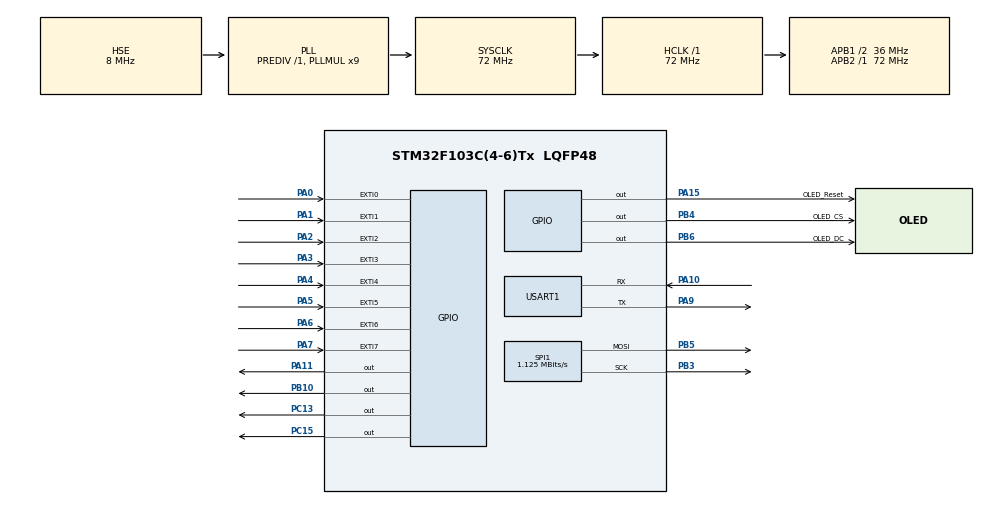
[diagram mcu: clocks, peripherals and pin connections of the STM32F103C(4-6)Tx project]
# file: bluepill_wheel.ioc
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Mcu.Family=STM32F1
Mcu.Name=STM32F103C(4-6)Tx
Mcu.Package=LQFP48
NVIC.EXTI0_IRQn=true\:0\:0\:false\:false\:true\:true\:true\:true
NVIC.EXTI1_IRQn=true\:0\:0\:false\:false\:true\:true\:true\:true
NVIC.EXTI2_IRQn=true\:0\:0\:false\:false\:true\:true\:true\:true
NVIC.EXTI3_IRQn=true\:0\:0\:false\:false\:true\:true\:true\:true
NVIC.EXTI4_IRQn=true\:0\:0\:false\:false\:true\:true\:true\:true
NVIC.EXTI9_5_IRQn=true\:0\:0\:false\:false\:true\:true\:true\:true
NVIC.PriorityGroup=NVIC_PRIORITYGROUP_4
NVIC.USART1_IRQn=true\:0\:0\:false\:false\:true\:true\:true\:true
PA0-WKUP.GPIO_ModeDefaultEXTI=GPIO_MODE_IT_RISING
PA0-WKUP.GPIO_PuPd=GPIO_NOPULL
PA0-WKUP.Signal=GPXTI0
PA1.GPIO_ModeDefaultEXTI=GPIO_MODE_IT_RISING
PA1.GPIO_PuPd=GPIO_NOPULL
PA1.Signal=GPXTI1
PA10.Mode=Asynchronous
PA10.Signal=USART1_RX
PA11.Signal=GPIO_Output
PA13.Mode=Serial_Wire
PA13.Signal=SYS_JTMS-SWDIO
PA14.Mode=Serial_Wire
PA14.Signal=SYS_JTCK-SWCLK
PA15.GPIO_Label=OLED_Reset
PA15.GPIO_Speed=GPIO_SPEED_FREQ_HIGH
PA15.PinState=GPIO_PIN_SET
PA15.Signal=GPIO_Output
PA2.GPIO_ModeDefaultEXTI=GPIO_MODE_IT_RISING
PA2.GPIO_PuPd=GPIO_NOPULL
PA2.Signal=GPXTI2
PA3.GPIO_ModeDefaultEXTI=GPIO_MODE_IT_RISING
PA3.GPIO_PuPd=GPIO_NOPULL
PA3.Signal=GPXTI3
PA4.GPIO_ModeDefaultEXTI=GPIO_MODE_IT_RISING
PA4.GPIO_PuPd=GPIO_NOPULL
PA4.Signal=GPXTI4
PA5.GPIO_ModeDefaultEXTI=GPIO_MODE_IT_RISING
PA5.GPIO_PuPd=GPIO_NOPULL
PA5.Signal=GPXTI5
PA6.GPIO_ModeDefaultEXTI=GPIO_MODE_IT_RISING
PA6.Signal=GPXTI6
PA7.GPIO_ModeDefaultEXTI=GPIO_MODE_IT_RISING
PA7.Signal=GPXTI7
PA9.Mode=Asynchronous
PA9.Signal=USART1_TX
PB10.GPIO_ModeDefaultOutputPP=GPIO_MODE_OUTPUT_PP
PB10.GPIO_PuPd=GPIO_NOPULL
PB10.PinState=GPIO_PIN_SET
PB10.Signal=GPIO_Output
PB3.Mode=TX_Only_Simplex_Unidirect_Master
PB3.Signal=SPI1_SCK
PB4.GPIO_Label=OLED_CS
PB4.GPIO_Speed=GPIO_SPEED_FREQ_HIGH
PB4.PinState=GPIO_PIN_SET
PB4.Signal=GPIO_Output
PB5.Mode=TX_Only_Simplex_Unidirect_Master
PB5.Signal=SPI1_MOSI
PB6.GPIO_Label=OLED_DC
PB6.GPIO_Speed=GPIO_SPEED_FREQ_HIGH
PB6.PinState=GPIO_PIN_SET
PB6.Signal=GPIO_Output
PC13-TAMPER-RTC.GPIO_PuPd=GPIO_NOPULL
PC13-TAMPER-RTC.GPIO_Speed=GPIO_SPEED_FREQ_LOW
PC13-TAMPER-RTC.PinState=GPIO_PIN_RESET
PC13-TAMPER-RTC.Signal=GPIO_Output
PC15-OSC32_OUT.GPIO_ModeDefaultOutputPP=GPIO_MODE_OUTPUT_PP
PC15-OSC32_OUT.GPIO_PuPd=GPIO_NOPULL
PC15-OSC32_OUT.PinState=GPIO_PIN_SET
PC15-OSC32_OUT.Signal=GPIO_Output
PD0-OSC_IN.Mode=HSE-External-Oscillator
PD0-OSC_IN.Signal=RCC_OSC_IN
PD1-OSC_OUT.Mode=HSE-External-Oscillator
PD1-OSC_OUT.Signal=RCC_OSC_OUT
ProjectManager.HeapSize=0x200
ProjectManager.StackSize=0x400
ProjectManager.TargetToolchain=CMake
RCC.AHBFreq_Value=72000000
RCC.APB1CLKDivider=RCC_HCLK_DIV2
RCC.APB1Freq_Value=36000000
RCC.APB1TimFreq_Value=72000000
RCC.APB2Freq_Value=72000000
RCC.APB2TimFreq_Value=72000000
RCC.HCLKFreq_Value=72000000
RCC.PLLMUL=RCC_PLL_MUL9
RCC.PLLSourceVirtual=RCC_PLLSOURCE_HSE
RCC.SYSCLKFreq_VALUE=72000000
RCC.SYSCLKSource=RCC_SYSCLKSOURCE_PLLCLK
RCC.USBFreq_Value=72000000
SPI1.BaudRatePrescaler=SPI_BAUDRATEPRESCALER_64
SPI1.CLKPhase=SPI_PHASE_1EDGE
SPI1.CLKPolarity=SPI_POLARITY_LOW
SPI1.CRCCalculation=SPI_CRCCALCULATION_DISABLE
SPI1.CalculateBaudRate=1.125 MBits/s
SPI1.Direction=SPI_DIRECTION_2LINES
SPI1.Mode=SPI_MODE_MASTER
SPI1.VirtualType=VM_MASTER
USART1.VirtualMode=VM_ASYNC
board=custom

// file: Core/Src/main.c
/* USER CODE BEGIN Header */
/**
  ******************************************************************************
  * @file           : main.c
  * @brief          : Main program body
  ******************************************************************************
  * @attention
  *
  * Copyright (c) 2026 STMicroelectronics.
  * All rights reserved.
  *
  * This software is licensed under terms that can be found in the LICENSE file
  * in the root directory of this software component.
  * If no LICENSE file comes with this software, it is provided AS-IS.
  *
  ******************************************************************************
  */
/* USER CODE END Header */
#include "main.h"

/* USER CODE BEGIN Includes */
#include <stdio.h>
#include <string.h>
#include "ssd1306.h"
#include "ssd1306_fonts.h"
#include "oled.h"

/* USER CODE END Includes */

SPI_HandleTypeDef hspi1;

UART_HandleTypeDef huart1;

/* USER CODE BEGIN PV */

// Suspension Mode
extern int Suspension_Mode;

// Push buttons (1-4)
uint32_t last_press_button1 = 0;
volatile uint8_t flag_button1 = 0;

uint32_t last_press_button2 = 0;
volatile uint8_t flag_button2 = 0;

uint32_t last_press_button3 = 0;
volatile uint8_t flag_button3 = 0;

uint32_t last_press_button4 = 0;
volatile uint8_t flag_button4 = 0;

// Toggle switches (1,2)
uint32_t last_press_toggle1 = 0;
volatile uint8_t flag_toggle1 = 0;

uint32_t last_press_toggle2 = 0;
volatile uint8_t flag_toggle2 = 0;

// Paddle buttons (1,2)
uint32_t last_press_paddle1 = 0;
volatile uint8_t flag_paddle1 = 0;

uint32_t last_press_paddle2 = 0;
volatile uint8_t flag_paddle2 = 0;

// Damping settings: Front Left, Front Right, Rear Left, Rear Right
int damping_FL = 0;
int damping_FR = 0;
int damping_RL = 0;
int damping_RR = 0;

// UART RX Variables for receiving damping settings
uint8_t rx_data;
char rx_buffer[32];
uint8_t rx_index = 0;
volatile uint8_t rx_flag = 0;

/* USER CODE END PV */

void SystemClock_Config(void);
static void MX_GPIO_Init(void);
static void MX_USART1_UART_Init(void);
static void MX_SPI1_Init(void);

/* USER CODE BEGIN 0 */

void UART_send_byte(unsigned char data) {
  HAL_UART_Transmit(&huart1, &data, 1, HAL_MAX_DELAY);
}

void UART_send_message(const char* message) {
  for (size_t i = 0; i < strlen(message); ++i) {
    UART_send_byte((unsigned char)message[i]);
  }
}

//Turn
const unsigned char Turn[] = {
  0x00,0x00,0x00,0x00,0x00,0x00,0x00,
  0x00,0x00,0x00,0x00,0x00,0x00,0x00,
  0x00,0x00,0x00,0x00,0x00,0x00,0x00,
  0x00,0x00,0x00,0x00,0x00,0x00,0x00,
  0x00,0x00,0x00,0x00,0x00,0x00,0x00,
  0x00,0x00,0x00,0x00,0x00,0x00,0x00,
  0x00,0x00,0x00,0x00,0x00,0x00,0x00,
  0x00,0x00,0x00,0x00,0x00,0x00,0x00,
  0x00,0x00,0x00,0xFF,0x00,0x00,0x00,
  0x00,0x00,0x00,0xFF,0x00,0x00,0x00,
  0x00,0x00,0x00,0xFF,0x00,0x00,0x00,
  0x00,0x00,0x00,0xFF,0x00,0x00,0x00,
  0x00,0x00,0x00,0xE1,0xE0,0x00,0x00,
  0x00,0x00,0x00,0xE1,0xE0,0x00,0x00,
  0x00,0x00,0x00,0xE1,0xE0,0x00,0x00,
  0x00,0x00,0x00,0xE1,0xE0,0x00,0x00,
  0x00,0x00,0x00,0xE0,0x1E,0x00,0x00,
  0x00,0x00,0x00,0xE0,0x1E,0x00,0x00,
  0x00,0xFF,0xFF,0x00,0x1E,0x00,0x00,
  0x00,0xFF,0xFF,0x00,0x1E,0x00,0x00,
  0x00,0xFF,0xFF,0x00,0x00,0xE0,0x00,
  0x00,0xFF,0xFF,0x00,0x00,0xE0,0x00,
  0x00,0xE0,0x00,0x00,0x00,0xE0,0x00,
  0x00,0xE0,0x00,0x00,0x00,0xE0,0x00,
  0x00,0xE0,0x00,0x00,0x00,0x1E,0x00,
  0x00,0xE0,0x00,0x00,0x00,0x1E,0x00,
  0x00,0xE0,0x00,0x00,0x00,0x1E,0x00,
  0x00,0xE0,0x00,0x00,0x00,0x1E,0x00,
  0x00,0xE0,0x00,0x00,0x00,0xE0,0x00,
  0x00,0xE0,0x00,0x00,0x00,0xE0,0x00,
  0x00,0xFF,0xFF,0x00,0x00,0xE0,0x00,
  0x00,0xFF,0xFF,0x00,0x00,0xE0,0x00,
  0x00,0xFF,0xFF,0x00,0x1E,0x00,0x00,
  0x00,0xFF,0xFF,0x00,0x1E,0x00,0x00,
  0x00,0x00,0x00,0xE0,0x1E,0x00,0x00,
  0x00,0x00,0x00,0xE0,0x1E,0x00,0x00,
  0x00,0x00,0x00,0xE1,0xE0,0x00,0x00,
  0x00,0x00,0x00,0xE1,0xE0,0x00,0x00,
  0x00,0x00,0x00,0xE1,0xE0,0x00,0x00,
  0x00,0x00,0x00,0xE1,0xE0,0x00,0x00,
  0x00,0x00,0x00,0xFF,0x00,0x00,0x00,
  0x00,0x00,0x00,0xFF,0x00,0x00,0x00,
  0x00,0x00,0x00,0xFF,0x00,0x00,0x00,
  0x00,0x00,0x00,0xFF,0x00,0x00,0x00,
  0x00,0x00,0x00,0x00,0x00,0x00,0x00,
  0x00,0x00,0x00,0x00,0x00,0x00,0x00,
  0x00,0x00,0x00,0x00,0x00,0x00,0x00,
  0x00,0x00,0x00,0x00,0x00,0x00,0x00,
  0x00,0x00,0x00,0x00,0x00,0x00,0x00,
  0x00,0x00,0x00,0x00,0x00,0x00,0x00,
  0x00,0x00,0x00,0x00,0x00,0x00,0x00,
  0x00,0x00,0x00,0x00,0x00,0x00,0x00
};

//Tree
const unsigned char Tree[] = {
  0x00,0x00,0x00,0x00,0x00,0x00,0x00,
  0x00,0x00,0x00,0x00,0x00,0x00,0x00,
  0x00,0x00,0x00,0x00,0x00,0x00,0x00,
  0x00,0x00,0x00,0x00,0x00,0x00,0x00,
  0x00,0x00,0x00,0x00,0x00,0x00,0x00,
  0x00,0x00,0x00,0x00,0x00,0x00,0x00,
  0x00,0x00,0x00,0xF0,0x00,0x00,0x00,
  0x00,0x00,0x00,0xF0,0x00,0x00,0x00,
  0x00,0x00,0x00,0xF0,0x00,0x00,0x00,
  0x00,0x00,0x00,0xF0,0x00,0x00,0x00,
  0x00,0x00,0x0F,0x0F,0x00,0x00,0x00,
  0x00,0x00,0x0F,0x0F,0x00,0x00,0x00,
  0x00,0x00,0x0F,0x0F,0x00,0x00,0x00,
  0x00,0x00,0x0F,0x0F,0x00,0x00,0x00,
  0x00,0x00,0xF0,0x00,0xF0,0x00,0x00,
  0x00,0x00,0xF0,0x00,0xF0,0x00,0x00,
  0x00,0x00,0xF0,0x00,0xF0,0x00,0x00,
  0x00,0x00,0xF0,0x00,0xF0,0x00,0x00,
  0x00,0x00,0x0F,0x0F,0x00,0x00,0x00,
  0x00,0x00,0x0F,0x0F,0x00,0x00,0x00,
  0x00,0x00,0x0F,0x0F,0x00,0x00,0x00,
  0x00,0x00,0x0F,0x0F,0x00,0x00,0x00,
  0x00,0x00,0xF0,0x00,0xF0,0x00,0x00,
  0x00,0x00,0xF0,0x00,0xF0,0x00,0x00,
  0x00,0x00,0xF0,0x00,0xF0,0x00,0x00,
  0x00,0x00,0xF0,0x00,0xF0,0x00,0x00,
  0x00,0x0F,0x00,0x00,0x0F,0x00,0x00,
  0x00,0x0F,0x00,0x00,0x0F,0x00,0x00,
  0x00,0x0F,0x00,0x00,0x0F,0x00,0x00,
  0x00,0x0F,0x00,0x00,0x0F,0x00,0x00,
  0x00,0x00,0xF0,0x00,0xF0,0x00,0x00,
  0x00,0x00,0xF0,0x00,0xF0,0x00,0x00,
  0x00,0x00,0xF0,0x00,0xF0,0x00,0x00,
  0x00,0x00,0xF0,0x00,0xF0,0x00,0x00,
  0x00,0x0F,0x00,0x00,0x0F,0x00,0x00,
  0x00,0x0F,0x00,0x00,0x0F,0x00,0x00,
  0x00,0x0F,0x00,0x00,0x0F,0x00,0x00,
  0x00,0x0F,0x00,0x00,0x0F,0x00,0x00,
  0x00,0xFF,0xFF,0xFF,0xFF,0xF0,0x00,
  0x00,0xFF,0xFF,0xFF,0xFF,0xF0,0x00,
  0x00,0xFF,0xFF,0xFF,0xFF,0xF0,0x00,
  0x00,0xFF,0xFF,0xFF,0xFF,0xF0,0x00,
  0x00,0x00,0x00,0xF0,0x00,0x00,0x00,
  0x00,0x00,0x00,0xF0,0x00,0x00,0x00,
  0x00,0x00,0x00,0xF0,0x00,0x00,0x00,
  0x00,0x00,0x00,0xF0,0x00,0x00,0x00,
  0x00,0x00,0x00,0x00,0x00,0x00,0x00,
  0x00,0x00,0x00,0x00,0x00,0x00,0x00,
  0x00,0x00,0x00,0x00,0x00,0x00,0x00,
  0x00,0x00,0x00,0x00,0x00,0x00,0x00,
  0x00,0x00,0x00,0x00,0x00,0x00,0x00,
  0x00,0x00,0x00,0x00,0x00,0x00,0x00
};

//Jump
const unsigned char Jump[] = {
  0x00,0x00,0x00,0x00,0x00,0x00,0x00,
  0x00,0x00,0x00,0x00,0x00,0x00,0x00,
  0x00,0x00,0x00,0x00,0x00,0x00,0x00,
  0x00,0x00,0x00,0x00,0x00,0x00,0x00,
  0x00,0x00,0x00,0x00,0x00,0x00,0x00,
  0x00,0x00,0x00,0x00,0x00,0x00,0x00,
  0x00,0x00,0x00,0xF0,0x00,0x00,0x00,
  0x00,0x00,0x00,0xF0,0x00,0x00,0x00,
  0x00,0x00,0x00,0xF0,0x00,0x00,0x00,
  0x00,0x00,0x00,0xF0,0x00,0x00,0x00,
  0x00,0x00,0x0F,0x0F,0x00,0x00,0x00,
  0x00,0x00,0x0F,0x0F,0x00,0x00,0x00,
  0x00,0x00,0x0F,0x0F,0x00,0x00,0x00,
  0x00,0x00,0x0F,0x0F,0x00,0x00,0x00,
  0x00,0x00,0xF0,0x00,0xF0,0x00,0x00,
  0x00,0x00,0xF0,0x00,0xF0,0x00,0x00,
  0x00,0x00,0xF0,0x00,0xF0,0x00,0x00,
  0x00,0x00,0xF0,0x00,0xF0,0x00,0x00,
  0x00,0x0F,0x00,0x00,0x0F,0x00,0x00,
  0x00,0x0F,0x00,0x00,0x0F,0x00,0x00,
  0x00,0x0F,0x00,0x00,0x0F,0x00,0x00,
  0x00,0x0F,0x00,0x00,0x0F,0x00,0x00,
  0x00,0xF0,0x00,0x00,0x00,0xF0,0x00,
  0x00,0xF0,0x00,0x00,0x00,0xF0,0x00,
  0x00,0xF0,0x00,0x00,0x00,0xF0,0x00,
  0x00,0xF0,0x00,0x00,0x00,0xF0,0x00,
  0x00,0xFF,0xC0,0x00,0x3F,0xF0,0x00,
  0x00,0xFF,0xC0,0x00,0x3F,0xF0,0x00,
  0x00,0xFF,0xC0,0x00,0x3F,0xF0,0x00,
  0x00,0xFF,0xC0,0x00,0x3F,0xF0,0x00,
  0x00,0x00,0x3C,0x03,0xC0,0x00,0x00,
  0x00,0x00,0x3C,0x03,0xC0,0x00,0x00,
  0x00,0x00,0x3C,0x03,0xC0,0x00,0x00,
  0x00,0x00,0x3C,0x03,0xC0,0x00,0x00,
  0x00,0x00,0x3F,0xFF,0xC0,0x00,0x00,
  0x00,0x00,0x3F,0xFF,0xC0,0x00,0x00,
  0x00,0x00,0x3F,0xFF,0xC0,0x00,0x00,
  0x00,0x00,0x3F,0xFF,0xC0,0x00,0x00,
  0x00,0x00,0x00,0x00,0x00,0x00,0x00,
  0x00,0x00,0x00,0x00,0x00,0x00,0x00,
  0x00,0x00,0x00,0x00,0x00,0x00,0x00,
  0x00,0x00,0x00,0x00,0x00,0x00,0x00,
  0x00,0x00,0x3F,0xFF,0xC0,0x00,0x00,
  0x00,0x00,0x3F,0xFF,0xC0,0x00,0x00,
  0x00,0x00,0x3F,0xFF,0xC0,0x00,0x00,
  0x00,0x00,0x3F,0xFF,0xC0,0x00,0x00,
  0x00,0x00,0x00,0x00,0x00,0x00,0x00,
  0x00,0x00,0x00,0x00,0x00,0x00,0x00,
  0x00,0x00,0x00,0x00,0x00,0x00,0x00,
  0x00,0x00,0x00,0x00,0x00,0x00,0x00,
  0x00,0x00,0x00,0x00,0x00,0x00,0x00,
  0x00,0x00,0x00,0x00,0x00,0x00,0x00
};

//Sunglasses
const unsigned char Sunglasses[] = {
  0x00,0x00,0x00,0x00,0x00,0x00,0x00,
  0x00,0x00,0x00,0x00,0x00,0x00,0x00,
  0x00,0x00,0x00,0x00,0x00,0x00,0x00,
  0x00,0x00,0x00,0x00,0x00,0x00,0x00,
  0x00,0x00,0x00,0x00,0x00,0x00,0x00,
  0x00,0x00,0x00,0x00,0x00,0x00,0x00,
  0x00,0x00,0x00,0x00,0x00,0x00,0x00,
  0x00,0x00,0x00,0x00,0x00,0x00,0x00,
  0x00,0x00,0x00,0x00,0x00,0x00,0x00,
  0x00,0x00,0x00,0x00,0x00,0x00,0x00,
  0x00,0x3C,0x00,0x00,0x03,0xC0,0x00,
  0x00,0x3C,0x00,0x00,0x03,0xC0,0x00,
  0x00,0x3C,0x00,0x00,0x03,0xC0,0x00,
  0x00,0x3C,0x00,0x00,0x03,0xC0,0x00,
  0x03,0xC0,0x00,0x00,0x00,0x3C,0x00,
  0x03,0xC0,0x00,0x00,0x00,0x3C,0x00,
  0x03,0xC0,0x00,0x00,0x00,0x3C,0x00,
  0x03,0xC0,0x00,0x00,0x00,0x3C,0x00,
  0x03,0xC0,0x00,0x00,0x00,0x3C,0x00,
  0x03,0xC0,0x00,0x00,0x00,0x3C,0x00,
  0x03,0xC0,0x00,0x00,0x00,0x3C,0x00,
  0x03,0xC0,0x00,0x00,0x00,0x3C,0x00,
  0x03,0xFF,0xF0,0x00,0xFF,0xFC,0x00,
  0x03,0xFF,0xF0,0x00,0xFF,0xFC,0x00,
  0x03,0xFF,0xF0,0x00,0xFF,0xFC,0x00,
  0x03,0xFF,0xF0,0x00,0xFF,0xFC,0x00,
  0x03,0xC3,0xFF,0xFF,0x0F,0xFC,0x00,
  0x03,0xC3,0xFF,0xFF,0x0F,0xFC,0x00,
  0x03,0xC3,0xFF,0xFF,0x0F,0xFC,0x00,
  0x03,0xC3,0xFF,0xFF,0x0F,0xFC,0x00,
  0x03,0xFC,0x3F,0x0F,0xF0,0xFC,0x00,
  0x03,0xFC,0x3F,0x0F,0xF0,0xFC,0x00,
  0x03,0xFC,0x3F,0x0F,0xF0,0xFC,0x00,
  0x03,0xFC,0x3F,0x0F,0xF0,0xFC,0x00,
  0x03,0xFF,0xFF,0x0F,0xFF,0xFC,0x00,
  0x03,0xFF,0xFF,0x0F,0xFF,0xFC,0x00,
  0x00,0x3F,0xF0,0x00,0xFF,0xC0,0x00,
  0x00,0x3F,0xF0,0x00,0xFF,0xC0,0x00,
  0x00,0x3F,0xF0,0x00,0xFF,0xC0,0x00,
  0x00,0x3F,0xF0,0x00,0xFF,0xC0,0x00,
  0x00,0x00,0x00,0x00,0x00,0x00,0x00,
  0x00,0x00,0x00,0x00,0x00,0x00,0x00,
  0x00,0x00,0x00,0x00,0x00,0x00,0x00,
  0x00,0x00,0x00,0x00,0x00,0x00,0x00,
  0x00,0x00,0x00,0x00,0x00,0x00,0x00,
  0x00,0x00,0x00,0x00,0x00,0x00,0x00,
  0x00,0x00,0x00,0x00,0x00,0x00,0x00,
  0x00,0x00,0x00,0x00,0x00,0x00,0x00,
  0x00,0x00,0x00,0x00,0x00,0x00,0x00,
  0x00,0x00,0x00,0x00,0x00,0x00,0x00,
  0x00,0x00,0x00,0x00,0x00,0x00,0x00,
  0x00,0x00,0x00,0x00,0x00,0x00,0x00
};

//Baja Logo
const unsigned char BajaLogo[] = {
	0x00, 0x00, 0x00, 0x00, 0x00, 0x00, 0x00, 0x00, 0x00, 0x00, 0x00, 0x00, 0x00, 0x00, 0x00, 0x00,
	0x00, 0x00, 0x00, 0x00, 0x00, 0x00, 0x00, 0x00, 0x00, 0x00, 0x00, 0x00, 0x00, 0x00, 0x00, 0x00,
	0x00, 0x00, 0x00, 0x00, 0x00, 0x00, 0x00, 0x00, 0x00, 0x00, 0x00, 0x00, 0x00, 0x00, 0x00, 0x00,
	0x00, 0x00, 0x00, 0x00, 0x00, 0x00, 0x00, 0x00, 0x00, 0x00, 0x00, 0x00, 0x00, 0x00, 0x00, 0x00,
	0x00, 0x00, 0x00, 0x00, 0x00, 0x00, 0x00, 0x00, 0x00, 0x00, 0x00, 0x00, 0x00, 0x00, 0x00, 0x00,
	0x00, 0x00, 0x00, 0x00, 0x00, 0x00, 0x00, 0x00, 0x00, 0x00, 0x00, 0x00, 0x00, 0x00, 0x00, 0x00,
	0x00, 0x00, 0x00, 0x00, 0x00, 0x07, 0xff, 0xff, 0xff, 0xff, 0xfc, 0x00, 0x00, 0x00, 0x00, 0x00,
	0x1f, 0xff, 0xff, 0xff, 0xff, 0xef, 0xff, 0xff, 0xff, 0xff, 0xff, 0x80, 0x00, 0x00, 0x00, 0x00,
	0x1f, 0xff, 0xef, 0xff, 0xff, 0xf7, 0xff, 0xff, 0xff, 0xff, 0xff, 0xc0, 0x00, 0x00, 0x00, 0x00,
	0x0f, 0xff, 0xc0, 0x00, 0x00, 0x37, 0x00, 0x0f, 0x80, 0x00, 0x01, 0xe0, 0x00, 0x00, 0x00, 0x00,
	0x0f, 0xff, 0xe0, 0x00, 0x00, 0x73, 0x00, 0x1f, 0x00, 0x00, 0x00, 0xf0, 0x00, 0x00, 0x00, 0x00,
	0x0f, 0xff, 0xe0, 0x00, 0x00, 0x7b, 0x80, 0x7c, 0x00, 0x00, 0x00, 0x78, 0x00, 0x00, 0x00, 0x00,
	0x07, 0xff, 0xf0, 0x00, 0x0e, 0xf9, 0x80, 0xf0, 0x00, 0x00, 0x00, 0x38, 0x00, 0x00, 0x00, 0x00,
	0x07, 0xff, 0xf0, 0x00, 0x07, 0xfd, 0xc3, 0xe0, 0x00, 0x00, 0x00, 0x1c, 0x00, 0x00, 0x00, 0x00,
	0x03, 0xff, 0xf8, 0x00, 0x03, 0xfd, 0xc7, 0xc0, 0x00, 0x00, 0x00, 0x0c, 0x00, 0x00, 0x00, 0x00,
	0x03, 0xff, 0xf8, 0x00, 0x03, 0xfc, 0xef, 0x00, 0x00, 0x00, 0x00, 0x0e, 0x00, 0x00, 0x00, 0x00,
	0x01, 0xff, 0xfc, 0x00, 0x31, 0xfe, 0xfe, 0x00, 0x00, 0x00, 0x00, 0x0e, 0x00, 0x00, 0x00, 0x00,
	0x01, 0xff, 0xfc, 0x00, 0x1c, 0xfe, 0x78, 0x00, 0x00, 0x00, 0x00, 0x27, 0x00, 0x00, 0x00, 0x00,
	0x00, 0xff, 0xfc, 0x00, 0x1f, 0xff, 0x70, 0x00, 0x00, 0x00, 0x00, 0x67, 0x00, 0x00, 0x00, 0x00,
	0x00, 0xff, 0xfe, 0x07, 0xff, 0xff, 0x70, 0x00, 0x00, 0x00, 0x00, 0x63, 0x00, 0x00, 0x00, 0x00,
	0x00, 0xff, 0xfe, 0x07, 0xff, 0xff, 0x30, 0x00, 0x00, 0x00, 0x00, 0x63, 0x80, 0x00, 0x00, 0x00,
	0x00, 0x7f, 0xff, 0x03, 0xff, 0xff, 0xb8, 0x00, 0x00, 0x00, 0x00, 0x61, 0x80, 0x00, 0x00, 0x00,
	0x00, 0x7f, 0xff, 0x01, 0xff, 0xff, 0x98, 0x00, 0x00, 0x00, 0x00, 0x7f, 0xc0, 0x00, 0x00, 0x00,
	0x00, 0x3f, 0xff, 0x80, 0xff, 0xff, 0xdc, 0x00, 0x00, 0x00, 0x00, 0x6f, 0xc0, 0x00, 0x00, 0x00,
	0x00, 0x3f, 0xff, 0x80, 0xff, 0xff, 0xcc, 0x00, 0x00, 0x00, 0x00, 0xc7, 0xff, 0xff, 0x80, 0x00,
	0x00, 0x1f, 0xff, 0xc7, 0xff, 0xff, 0xec, 0x00, 0x00, 0x00, 0x00, 0xcf, 0xff, 0xff, 0xc0, 0x00,
	0x00, 0x1f, 0xff, 0xc7, 0xff, 0xff, 0xee, 0x00, 0x00, 0x00, 0x00, 0xde, 0xf0, 0x00, 0xe0, 0x00,
	0x00, 0x1f, 0xff, 0xe0, 0xff, 0xff, 0xe7, 0xc0, 0x00, 0x00, 0x00, 0x3c, 0x70, 0x00, 0x70, 0x00,
	0x00, 0x0f, 0xff, 0xe0, 0x3f, 0xff, 0xf7, 0xf8, 0x00, 0x00, 0x00, 0x78, 0x7f, 0xff, 0xf8, 0x00,
	0x00, 0x0f, 0xff, 0xf0, 0x0f, 0xff, 0xf3, 0xff, 0x00, 0x00, 0x00, 0xf1, 0xff, 0xff, 0xf8, 0x00,
	0x00, 0x07, 0xff, 0xf0, 0x03, 0xff, 0xfb, 0x1f, 0xe0, 0x00, 0x01, 0xef, 0xff, 0xff, 0xfc, 0x00,
	0x00, 0x07, 0xff, 0xf0, 0x00, 0xff, 0xfb, 0x87, 0xf8, 0x00, 0x03, 0xff, 0xb8, 0x00, 0x1c, 0x00,
	0x00, 0x07, 0xff, 0xf8, 0x00, 0x3f, 0xf9, 0x80, 0x7f, 0xff, 0xff, 0xf8, 0x1c, 0x00, 0x0c, 0x00,
	0x00, 0x03, 0xff, 0xf8, 0x00, 0x0f, 0xfd, 0xc0, 0x1f, 0xff, 0xff, 0xe0, 0x1c, 0x00, 0x0c, 0x00,
	0x00, 0x03, 0xff, 0xfc, 0x00, 0x07, 0xfc, 0xc0, 0x1f, 0xff, 0xff, 0xf0, 0x0e, 0x00, 0x0e, 0x00,
	0x00, 0x01, 0xff, 0xfc, 0x00, 0x07, 0xce, 0xc0, 0x3d, 0xe0, 0x00, 0xfc, 0x0e, 0x00, 0x0e, 0x00,
	0x00, 0x01, 0xff, 0xfe, 0x00, 0x07, 0x8e, 0xe0, 0xf8, 0xf0, 0x00, 0x1f, 0x87, 0x00, 0x06, 0x00,
	0x00, 0x00, 0xff, 0xfe, 0x00, 0x0e, 0x0f, 0x61, 0xf0, 0x78, 0x00, 0x07, 0xe7, 0x00, 0x07, 0x00,
	0x00, 0x00, 0xff, 0xff, 0x00, 0x04, 0x07, 0x73, 0xc0, 0x3c, 0x00, 0x01, 0xf7, 0x00, 0x07, 0x00,
	0x00, 0x00, 0xff, 0xff, 0x00, 0x00, 0x07, 0x7f, 0x80, 0x0e, 0x00, 0x00, 0x7f, 0x80, 0x03, 0x00,
	0x00, 0x00, 0x7f, 0xff, 0x00, 0x00, 0x03, 0xbf, 0x00, 0x0f, 0x7f, 0xfe, 0x3f, 0xc7, 0xff, 0x00,
	0x00, 0x00, 0x7f, 0xff, 0x80, 0x00, 0x03, 0xbf, 0xff, 0xff, 0xff, 0xff, 0xff, 0xff, 0xff, 0x80,
	0x00, 0x00, 0x3f, 0xff, 0xff, 0xff, 0xff, 0x9f, 0xff, 0xff, 0xff, 0xff, 0xff, 0xff, 0xff, 0x80,
	0x00, 0x00, 0x00, 0x00, 0x00, 0x00, 0x00, 0x00, 0x00, 0x00, 0x00, 0x00, 0x00, 0x00, 0x00, 0x00,
	0x00, 0x00, 0x00, 0x00, 0x00, 0x00, 0x00, 0x00, 0x00, 0x00, 0x00, 0x00, 0x00, 0x00, 0x00, 0x00,
	0x00, 0x00, 0x1f, 0xff, 0xff, 0xff, 0xff, 0xff, 0xff, 0xff, 0xff, 0xf0, 0x7e, 0x1f, 0x80, 0x00,
	0x00, 0x00, 0x1f, 0xff, 0xff, 0xff, 0xff, 0xff, 0xff, 0xff, 0xff, 0xf8, 0x7e, 0x0f, 0xc0, 0x00,
	0x00, 0x00, 0x0f, 0xff, 0xff, 0xff, 0xff, 0xff, 0xff, 0xff, 0xff, 0xf8, 0x3f, 0x0f, 0xc0, 0x00,
	0x00, 0x00, 0x0f, 0xff, 0xf9, 0x90, 0x61, 0xf8, 0x71, 0xf7, 0x3f, 0xfc, 0x3f, 0x07, 0xe0, 0x00,
	0x00, 0x00, 0x07, 0xff, 0xf9, 0x96, 0x4f, 0xfb, 0x31, 0xf6, 0x3f, 0xfe, 0x3f, 0x87, 0xfa, 0x00,
	0x00, 0x00, 0x07, 0xff, 0xf9, 0x90, 0xcf, 0xf8, 0x74, 0xf6, 0x9f, 0xff, 0xff, 0xff, 0xff, 0x00,
	0x00, 0x00, 0x03, 0xff, 0xf9, 0x92, 0x4f, 0xf9, 0x24, 0xf6, 0x9f, 0xff, 0xff, 0xff, 0xff, 0x80,
	0x00, 0x00, 0x03, 0xff, 0xf9, 0xb3, 0x6c, 0xfb, 0x20, 0xa4, 0x1f, 0xff, 0xf0, 0x7e, 0x1f, 0x80,
	0x00, 0x00, 0x01, 0xff, 0xfc, 0x30, 0x61, 0xf8, 0x6e, 0x8d, 0xcf, 0xff, 0xf8, 0x3f, 0x0f, 0xc0,
	0x00, 0x00, 0x01, 0xff, 0xff, 0xff, 0xff, 0xff, 0xff, 0xff, 0xff, 0xff, 0xfc, 0x3f, 0x0f, 0xe0,
	0x00, 0x00, 0x00, 0xff, 0xff, 0xff, 0xff, 0xff, 0xff, 0xff, 0xff, 0xff, 0xfc, 0x1f, 0x87, 0xe0,
	0x00, 0x00, 0x00, 0x00, 0x00, 0x00, 0x00, 0x00, 0x00, 0x00, 0x00, 0x00, 0x00, 0x00, 0x00, 0x00,
	0x00, 0x00, 0x00, 0x00, 0x00, 0x00, 0x00, 0x00, 0x00, 0x00, 0x00, 0x00, 0x00, 0x00, 0x00, 0x00,
	0x00, 0x00, 0x00, 0x00, 0x00, 0x00, 0x00, 0x00, 0x00, 0x00, 0x00, 0x00, 0x00, 0x00, 0x00, 0x00,
	0x00, 0x00, 0x00, 0x00, 0x00, 0x00, 0x00, 0x00, 0x00, 0x00, 0x00, 0x00, 0x00, 0x00, 0x00, 0x00,
	0x00, 0x00, 0x00, 0x00, 0x00, 0x00, 0x00, 0x00, 0x00, 0x00, 0x00, 0x00, 0x00, 0x00, 0x00, 0x00,
	0x00, 0x00, 0x00, 0x00, 0x00, 0x00, 0x00, 0x00, 0x00, 0x00, 0x00, 0x00, 0x00, 0x00, 0x00, 0x00,
	0x00, 0x00, 0x00, 0x00, 0x00, 0x00, 0x00, 0x00, 0x00, 0x00, 0x00, 0x00, 0x00, 0x00, 0x00, 0x00,
	0x00, 0x00, 0x00, 0x00, 0x00, 0x00, 0x00, 0x00, 0x00, 0x00, 0x00, 0x00, 0x00, 0x00, 0x00, 0x00
};

/* USER CODE END 0 */

int main(void)
{

  /* MCU Configuration--------------------------------------------------------*/

  /* Reset of all peripherals, Initializes the Flash interface and the Systick. */
  HAL_Init();

  /* Configure the system clock */
  SystemClock_Config();

  /* Initialize all configured peripherals */
  MX_GPIO_Init();
  MX_USART1_UART_Init();
  MX_SPI1_Init();
  /* USER CODE BEGIN 2 */
  ssd1306_Init();
  ssd1306_Fill(Black);
  ssd1306_DrawBitmap(0, 0, BajaLogo, 128, 64, White);

  ssd1306_UpdateScreen();

  HAL_Delay((5000));

  ssd1306_Fill(Black);
  drawBars();
  ssd1306_UpdateScreen();

  HAL_GPIO_WritePin(GPIOB, GPIO_PIN_10, RESET);
  HAL_GPIO_WritePin(GPIOC, GPIO_PIN_15, RESET);

  // Start UART Interrupt Reception for incoming damping settings
  HAL_UART_Receive_IT(&huart1, &rx_data, 1);

  /* USER CODE END 2 */

  /* Infinite loop */
  while (1)
  {

    /* USER CODE BEGIN 3 */

    // Check if UART data has arrived
    if (rx_flag) {
      UART_send_message("Received: [");
      UART_send_message(rx_buffer);
      UART_send_message("]\n");

      if (sscanf(rx_buffer, "%d,%d,%d,%d", &damping_FL, &damping_FR, &damping_RL, &damping_RR) == 4) {
        UART_send_message("Parse: SUCCESS\n");
        // Build entire frame, then flush once
        updateDampingDisplay(damping_FL, damping_FR, damping_RL, damping_RR);
        ssd1306_UpdateScreen();
      } else {
        UART_send_message("Parse: FAILED\n");
      }

      memset(rx_buffer, 0, sizeof(rx_buffer));
      rx_index = 0;
      rx_flag = 0;
    }

    // Button 1 — Jump mode
    if (flag_button1) {
      UART_send_message("B1\n");
      flag_button1 = 0;
      Suspension_Mode = 1;
      // Build full frame first, then flush once to avoid tearing
      ssd1306_FillRectangle(70, 8, 122, 60, Black);
      ssd1306_DrawBitmap(70, 8, Jump, 52, 52, White);
      updateDampingDisplay(damping_FL, damping_FR, damping_RL, damping_RR);
      ssd1306_UpdateScreen();
    }

    // Button 2 — Turn mode
    if (flag_button2) {
      UART_send_message("B2\n");
      flag_button2 = 0;
      Suspension_Mode = 2;
      ssd1306_FillRectangle(70, 8, 122, 60, Black);
      ssd1306_DrawBitmap(70, 8, Turn, 52, 52, White);
      updateDampingDisplay(damping_FL, damping_FR, damping_RL, damping_RR);
      ssd1306_UpdateScreen();
    }

    // Button 3 — Sunglasses mode (was missing icon draw + UpdateScreen)
    if (flag_button3) {
      UART_send_message("B3\n");
      flag_button3 = 0;
      Suspension_Mode = 3;
      ssd1306_FillRectangle(70, 8, 122, 60, Black);
      ssd1306_DrawBitmap(70, 8, Sunglasses, 52, 52, White);
      updateDampingDisplay(damping_FL, damping_FR, damping_RL, damping_RR);
      ssd1306_UpdateScreen();
    }

    // Button 4 — Tree mode
    if (flag_button4) {
      UART_send_message("B4\n");
      flag_button4 = 0;
      Suspension_Mode = 4;
      ssd1306_FillRectangle(70, 8, 122, 60, Black);
      ssd1306_DrawBitmap(70, 8, Tree, 52, 52, White);
      updateDampingDisplay(damping_FL, damping_FR, damping_RL, damping_RR);
      ssd1306_UpdateScreen();
    }

    if (flag_paddle1) {
      UART_send_message("P1\n");
      flag_paddle1 = 0;
    }

    if (flag_paddle2) {
      UART_send_message("P2\n");
      flag_paddle2 = 0;
    }

    if (flag_toggle1) {
      UART_send_message("T1\n");
      flag_toggle1 = 0;
      HAL_GPIO_TogglePin(GPIOC, GPIO_PIN_15);
    }

    if (flag_toggle2) {
      UART_send_message("T2\n");
      flag_toggle2 = 0;
      HAL_GPIO_TogglePin(GPIOB, GPIO_PIN_10);
    }

  }
  /* USER CODE END 3 */
}

void SystemClock_Config(void)
{
  RCC_OscInitTypeDef RCC_OscInitStruct = {0};
  RCC_ClkInitTypeDef RCC_ClkInitStruct = {0};

  /** Initializes the RCC Oscillators according to the specified parameters
  * in the RCC_OscInitTypeDef structure.
  */
  RCC_OscInitStruct.OscillatorType = RCC_OSCILLATORTYPE_HSE;
  RCC_OscInitStruct.HSEState = RCC_HSE_ON;
  RCC_OscInitStruct.HSEPredivValue = RCC_HSE_PREDIV_DIV1;
  RCC_OscInitStruct.HSIState = RCC_HSI_ON;
  RCC_OscInitStruct.PLL.PLLState = RCC_PLL_ON;
  RCC_OscInitStruct.PLL.PLLSource = RCC_PLLSOURCE_HSE;
  RCC_OscInitStruct.PLL.PLLMUL = RCC_PLL_MUL9;
  if (HAL_RCC_OscConfig(&RCC_OscInitStruct) != HAL_OK)
  {
    Error_Handler();
  }

  /** Initializes the CPU, AHB and APB buses clocks
  */
  RCC_ClkInitStruct.ClockType = RCC_CLOCKTYPE_HCLK|RCC_CLOCKTYPE_SYSCLK
                              |RCC_CLOCKTYPE_PCLK1|RCC_CLOCKTYPE_PCLK2;
  RCC_ClkInitStruct.SYSCLKSource = RCC_SYSCLKSOURCE_PLLCLK;
  RCC_ClkInitStruct.AHBCLKDivider = RCC_SYSCLK_DIV1;
  RCC_ClkInitStruct.APB1CLKDivider = RCC_HCLK_DIV2;
  RCC_ClkInitStruct.APB2CLKDivider = RCC_HCLK_DIV1;

  if (HAL_RCC_ClockConfig(&RCC_ClkInitStruct, FLASH_LATENCY_2) != HAL_OK)
  {
    Error_Handler();
  }
}

static void MX_SPI1_Init(void)
{

  /* SPI1 parameter configuration*/
  hspi1.Instance = SPI1;
  hspi1.Init.Mode = SPI_MODE_MASTER;
  hspi1.Init.Direction = SPI_DIRECTION_2LINES;
  hspi1.Init.DataSize = SPI_DATASIZE_8BIT;
  hspi1.Init.CLKPolarity = SPI_POLARITY_LOW;
  hspi1.Init.CLKPhase = SPI_PHASE_1EDGE;
  hspi1.Init.NSS = SPI_NSS_SOFT;
  hspi1.Init.BaudRatePrescaler = SPI_BAUDRATEPRESCALER_64;
  hspi1.Init.FirstBit = SPI_FIRSTBIT_MSB;
  hspi1.Init.TIMode = SPI_TIMODE_DISABLE;
  hspi1.Init.CRCCalculation = SPI_CRCCALCULATION_DISABLE;
  hspi1.Init.CRCPolynomial = 10;
  if (HAL_SPI_Init(&hspi1) != HAL_OK)
  {
    Error_Handler();
  }

}

static void MX_USART1_UART_Init(void)
{

  huart1.Instance = USART1;
  huart1.Init.BaudRate = 115200;
  huart1.Init.WordLength = UART_WORDLENGTH_8B;
  huart1.Init.StopBits = UART_STOPBITS_1;
  huart1.Init.Parity = UART_PARITY_NONE;
  huart1.Init.Mode = UART_MODE_TX_RX;
  huart1.Init.HwFlowCtl = UART_HWCONTROL_NONE;
  huart1.Init.OverSampling = UART_OVERSAMPLING_16;
  if (HAL_UART_Init(&huart1) != HAL_OK)
  {
    Error_Handler();
  }

}

static void MX_GPIO_Init(void)
{
  GPIO_InitTypeDef GPIO_InitStruct = {0};

  /* GPIO Ports Clock Enable */
  __HAL_RCC_GPIOC_CLK_ENABLE();
  __HAL_RCC_GPIOD_CLK_ENABLE();
  __HAL_RCC_GPIOA_CLK_ENABLE();
  __HAL_RCC_GPIOB_CLK_ENABLE();

  /*Configure GPIO pin Output Level */
  HAL_GPIO_WritePin(GPIOC, GPIO_PIN_13, GPIO_PIN_RESET);

  /*Configure GPIO pin Output Level */
  HAL_GPIO_WritePin(GPIOC, GPIO_PIN_15, GPIO_PIN_SET);

  /*Configure GPIO pin Output Level */
  HAL_GPIO_WritePin(GPIOB, GPIO_PIN_10|OLED_CS_Pin|OLED_DC_Pin, GPIO_PIN_SET);

  /*Configure GPIO pin Output Level */
  HAL_GPIO_WritePin(GPIOA, GPIO_PIN_11, GPIO_PIN_RESET);

  /*Configure GPIO pin Output Level */
  HAL_GPIO_WritePin(OLED_Reset_GPIO_Port, OLED_Reset_Pin, GPIO_PIN_SET);

  /*Configure GPIO pins : PC13 PC15 */
  GPIO_InitStruct.Pin = GPIO_PIN_13|GPIO_PIN_15;
  GPIO_InitStruct.Mode = GPIO_MODE_OUTPUT_PP;
  GPIO_InitStruct.Pull = GPIO_NOPULL;
  GPIO_InitStruct.Speed = GPIO_SPEED_FREQ_LOW;
  HAL_GPIO_Init(GPIOC, &GPIO_InitStruct);

  /*Configure GPIO pins : PA0 PA1 PA2 PA3
                           PA4 PA5 PA6 PA7 */
  GPIO_InitStruct.Pin = GPIO_PIN_0|GPIO_PIN_1|GPIO_PIN_2|GPIO_PIN_3
                          |GPIO_PIN_4|GPIO_PIN_5|GPIO_PIN_6|GPIO_PIN_7;
  GPIO_InitStruct.Mode = GPIO_MODE_IT_RISING;
  GPIO_InitStruct.Pull = GPIO_NOPULL;
  HAL_GPIO_Init(GPIOA, &GPIO_InitStruct);

  /*Configure GPIO pin : PB10 */
  GPIO_InitStruct.Pin = GPIO_PIN_10;
  GPIO_InitStruct.Mode = GPIO_MODE_OUTPUT_PP;
  GPIO_InitStruct.Pull = GPIO_NOPULL;
  GPIO_InitStruct.Speed = GPIO_SPEED_FREQ_LOW;
  HAL_GPIO_Init(GPIOB, &GPIO_InitStruct);

  /*Configure GPIO pin : PA11 */
  GPIO_InitStruct.Pin = GPIO_PIN_11;
  GPIO_InitStruct.Mode = GPIO_MODE_OUTPUT_PP;
  GPIO_InitStruct.Pull = GPIO_NOPULL;
  GPIO_InitStruct.Speed = GPIO_SPEED_FREQ_LOW;
  HAL_GPIO_Init(GPIOA, &GPIO_InitStruct);

  /*Configure GPIO pin : OLED_Reset_Pin */
  GPIO_InitStruct.Pin = OLED_Reset_Pin;
  GPIO_InitStruct.Mode = GPIO_MODE_OUTPUT_PP;
  GPIO_InitStruct.Pull = GPIO_NOPULL;
  GPIO_InitStruct.Speed = GPIO_SPEED_FREQ_HIGH;
  HAL_GPIO_Init(OLED_Reset_GPIO_Port, &GPIO_InitStruct);

  /*Configure GPIO pins : OLED_CS_Pin OLED_DC_Pin */
  GPIO_InitStruct.Pin = OLED_CS_Pin|OLED_DC_Pin;
  GPIO_InitStruct.Mode = GPIO_MODE_OUTPUT_PP;
  GPIO_InitStruct.Pull = GPIO_NOPULL;
  GPIO_InitStruct.Speed = GPIO_SPEED_FREQ_HIGH;
  HAL_GPIO_Init(GPIOB, &GPIO_InitStruct);

  /* EXTI interrupt init*/
  HAL_NVIC_SetPriority(EXTI0_IRQn, 0, 0);
  HAL_NVIC_EnableIRQ(EXTI0_IRQn);

  HAL_NVIC_SetPriority(EXTI1_IRQn, 0, 0);
  HAL_NVIC_EnableIRQ(EXTI1_IRQn);

  HAL_NVIC_SetPriority(EXTI2_IRQn, 0, 0);
  HAL_NVIC_EnableIRQ(EXTI2_IRQn);

  HAL_NVIC_SetPriority(EXTI3_IRQn, 0, 0);
  HAL_NVIC_EnableIRQ(EXTI3_IRQn);

  HAL_NVIC_SetPriority(EXTI4_IRQn, 0, 0);
  HAL_NVIC_EnableIRQ(EXTI4_IRQn);

  HAL_NVIC_SetPriority(EXTI9_5_IRQn, 0, 0);
  HAL_NVIC_EnableIRQ(EXTI9_5_IRQn);

}

/* USER CODE BEGIN 4 */

void HAL_UART_RxCpltCallback(UART_HandleTypeDef *huart) {
  if (huart->Instance == USART1) {
    if (rx_data == '\n' || rx_data == '\r') {
      // Only trigger if we actually have characters in the buffer
      if (rx_index > 0) {
        rx_buffer[rx_index] = '\0';
        rx_flag = 1;
      }
    }
    else if (rx_index < sizeof(rx_buffer) - 1) {
      rx_buffer[rx_index++] = rx_data;
    }
    HAL_UART_Receive_IT(&huart1, &rx_data, 1);
  }
}

void HAL_GPIO_EXTI_Callback(uint16_t GPIO_Pin) {
  uint32_t current_time = HAL_GetTick();
  const uint32_t debounce_delay = 220;

  switch (GPIO_Pin) {

  case GPIO_PIN_1: // Push button 1
    if ((current_time - last_press_button1) > debounce_delay) {
      flag_button1 = 1;
      last_press_button1 = current_time;
    }
    break;

  case GPIO_PIN_2: // Push button 2
    if ((current_time - last_press_button2) > debounce_delay) {
      flag_button2 = 1;
      last_press_button2 = current_time;
    }
    break;

  case GPIO_PIN_6: // Push button 3
    if ((current_time - last_press_button3) > debounce_delay) {
      flag_button3 = 1;
      last_press_button3 = current_time;
    }
    break;

  case GPIO_PIN_5: // Push button 4
    if ((current_time - last_press_button4) > debounce_delay) {
      flag_button4 = 1;
      last_press_button4 = current_time;
    }
    break;

  case GPIO_PIN_0: // Toggle 1
    if ((current_time - last_press_toggle1) > debounce_delay) {
      flag_toggle1 = 1;
      last_press_toggle1 = current_time;
    }
    break;

  case GPIO_PIN_7: // Toggle 2
    if ((current_time - last_press_toggle2) > debounce_delay) {
      flag_toggle2 = 1;
      last_press_toggle2 = current_time;
    }
    break;

  case GPIO_PIN_3: // Paddle 1
    if ((current_time - last_press_paddle1) > debounce_delay) {
      flag_paddle1 = 1;
      last_press_paddle1 = current_time;
    }
    break;

  case GPIO_PIN_4: // Paddle 2
    if ((current_time - last_press_paddle2) > debounce_delay) {
      flag_paddle2 = 1;
      last_press_paddle2 = current_time;
    }
    break;
  }
}

void HAL_UART_ErrorCallback(UART_HandleTypeDef *huart) {
  if (huart->Instance == USART1) {
    // 1. Forcefully clear the Overrun (ORE) flag
    __HAL_UART_CLEAR_OREFLAG(huart);

    // 2. Force the HAL state machine back to READY
    huart->RxState = HAL_UART_STATE_READY;

    // 3. Restart the interrupt receiver
    HAL_UART_Receive_IT(&huart1, &rx_data, 1);
  }
}

/* USER CODE END 4 */

void Error_Handler(void)
{
  __disable_irq();
  while (1)
  {
  }
}
